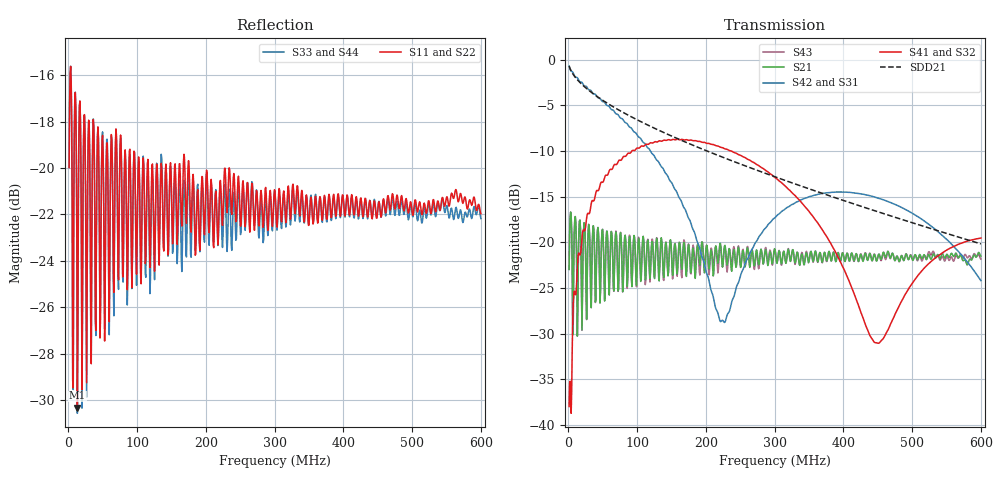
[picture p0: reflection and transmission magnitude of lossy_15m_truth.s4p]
! bare DUT without fixture (ground truth)
! synthetic pair, length 15.0 m
# Hz S RI R 50
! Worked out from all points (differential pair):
!   801 points, 1 MHz to 600 MHz, reference 50 ohm
!   strongest paths, dB at 1 MHz, 150.8 MHz, 300.5 MHz, 450.2 MHz, 600 MHz:
!     S41: -38.0, -8.7, -12.9, -31.0, -19.5
!     S32: -38.0, -8.7, -12.9, -31.0, -19.5
!     S42: -0.7, -13.5, -17.3, -15.1, -24.2
!     S31: -0.7, -13.5, -17.3, -15.1, -24.2
!     S21: -22.9, -22.6, -20.8, -21.6, -21.5
!     S43: -22.9, -23.0, -20.8, -21.5, -21.8
!   taken as a pair (ports 2,1 in; 4,3 out), SDD21 dB: -0.7, -8.4, -12.8, -16.6, -20.2
!   lowest |S11| = -30.3 dB at 12.98 MHz (marker M1), VSWR 1.06, Z = 52.5 - j1.87 ohm
!   |S11| at or under -10 dB: start of sweep to end of sweep
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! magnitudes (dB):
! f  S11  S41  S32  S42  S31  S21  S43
! 1 MHz  -20.0  -38.0  -38.0  -0.7  -0.7  -22.9  -22.9
! 12.98 MHz  -30.3  -22.7  -22.7  -2.0  -2.0  -30.2  -30.2
! 75.88 MHz  -18.6  -11.0  -11.0  -6.4  -6.4  -18.9  -18.9
! 223.4 MHz  -22.2  -9.6  -9.6  -28.5  -28.5  -22.2  -22.2
! 310.2 MHz  -22.3  -13.5  -13.5  -16.6  -16.6  -22.3  -22.5
! 447.3 MHz  -22.0  -31.0  -31.0  -15.1  -15.1  -21.9  -21.8
! 600 MHz  -22.0  -19.5  -19.5  -24.2  -24.2  -21.5  -21.8
